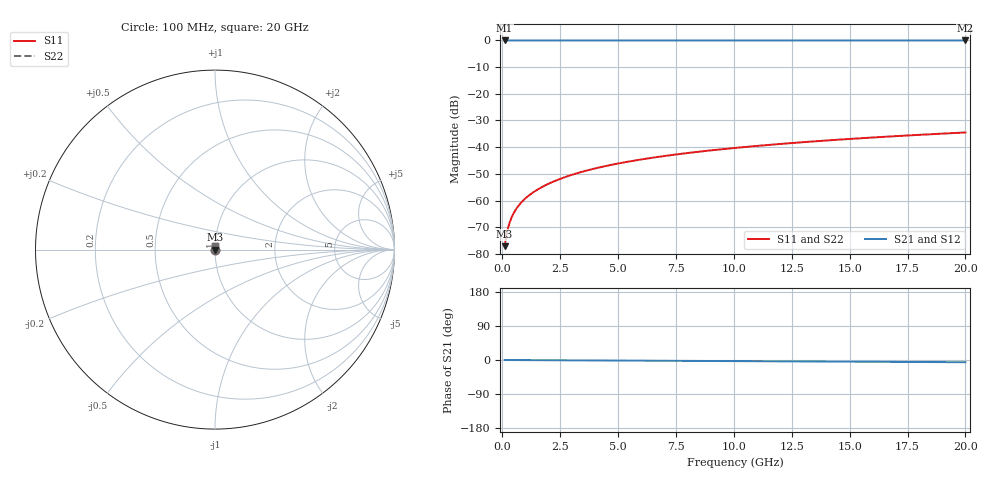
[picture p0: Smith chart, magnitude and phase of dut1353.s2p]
! Touchstone file exported from HFSS 2026.1.0
!  File:  C:/ffzhzh/LocalFiles/Ansys_Project_Files/temp_train_TSV_1353_1783195850_18472.aedt
!  Generated:  04:12:13 AM Jul  5, 2026
!  Design:  TSV
!  Project:  temp_train_TSV_1353_1783195850_18472
! Variables:
!  h_bsmrdl = 2um
!  h_ox = 20um
!  h_rdl = 5um
!  h_sub = 50.52um
!  h_tmrdl = 5um
!  h_tsv = 50.52um
!  h_via = 3um
!  l_bsmrdl = 300um
!  l_sub = 424.26um
!  l_tmrdl = 200um
!  m_sub = 200um
!  pitch = 58.4um
!  r_tsv = 12.13um
!  s_tmrdl = 10um
!  w_bsmrdl = 18um
!  w_sub = 500um
!  w_tmrdl = 12um
!  x_tsv_center1 = 206um
!  x_tsv_center2 = 524um
!  x_tsv_center3 = 736um
!  x_tsv_center4 = 1054um
!  x_tsv_center5 = 1266um
!  x_tsv_center6 = 1584um
# GHz S MA R 50.000000
! Terminal data exported
! Port[1] = TSV1_1_T1
! Port[2] = TSV1_1_T2
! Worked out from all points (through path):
!   200 points, 100 MHz to 20 GHz, reference 50 ohm
!   highest |S21| = 0.00 dB at 100 MHz (marker M1); lowest = 0.0 dB at 20 GHz (marker M2)
!   lowest |S11| = -77.1 dB at 100 MHz (marker M3), VSWR 1.00, Z = 50 + j0.0121 ohm
!   |S11| at or under -10 dB: start of sweep to end of sweep
!   |S22| runs from -77.1 to -34.5 dB; largest |S21 - S12| = 2.1e-15
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0.1  0.0001395 60.5  0.9999 -0.0  0.9999 -0.0  0.0001395 60.5
! Gamma 0 0 0 0
! Port Impedance 50 0 50 0
0.2  0.0002527 72.3  0.9999 -0.1  0.9999 -0.1  0.0002527 72.3
0.3  0.0003678 76.0  0.9999 -0.1  0.9999 -0.1  0.0003678 76.0
0.4  0.0004804 77.6  0.9999 -0.1  0.9999 -0.1  0.0004804 77.6
0.5  0.0005897 78.4  0.9999 -0.2  0.9999 -0.2  0.0005897 78.4
0.6  0.0006957 78.9  0.9999 -0.2  0.9999 -0.2  0.0006957 78.9
0.7  0.0007991 79.3  0.9999 -0.2  0.9999 -0.2  0.0007991 79.3
0.9  0.0009999 79.9  0.9998 -0.3  0.9998 -0.3  0.0009999 79.9
1.1  0.001196 80.5  0.9998 -0.3  0.9998 -0.3  0.001196 80.5
1.3  0.00139 81.1  0.9998 -0.4  0.9998 -0.4  0.00139 81.1
1.6  0.001679 81.8  0.9998 -0.5  0.9998 -0.5  0.001679 81.8
1.9  0.001969 82.4  0.9998 -0.6  0.9998 -0.6  0.001969 82.4
2.6  0.002643 83.2  0.9997 -0.8  0.9997 -0.8  0.002643 83.2
3.5  0.003508 83.8  0.9997 -1.0  0.9997 -1.0  0.003508 83.8
4.2  0.004178 84.0  0.9996 -1.2  0.9996 -1.2  0.004178 84.0
5  0.004939 84.1  0.9996 -1.5  0.9996 -1.5  0.004939 84.1
6.8  0.006638 84.2  0.9995 -2.0  0.9995 -2.0  0.006638 84.2
8.3  0.008043 84.1  0.9995 -2.5  0.9995 -2.5  0.008043 84.1
10.1  0.009722 83.8  0.9994 -3.0  0.9994 -3.0  0.009722 83.8
13.4  0.01279 83.3  0.9993 -3.9  0.9993 -3.9  0.01279 83.3
16.7  0.01583 82.6  0.9992 -4.9  0.9992 -4.9  0.01583 82.6
20  0.01885 81.8  0.9991 -5.9  0.9991 -5.9  0.01885 81.8
